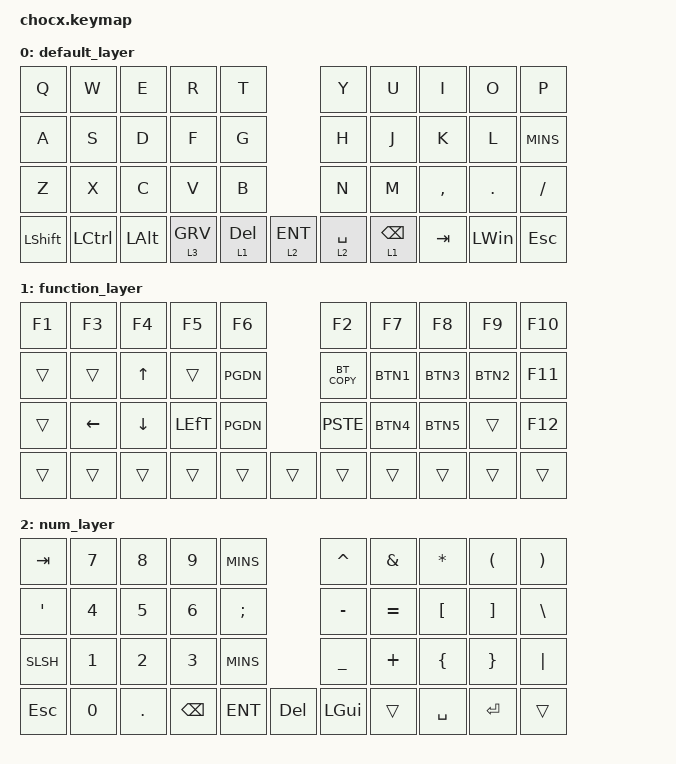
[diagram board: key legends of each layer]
#include <behaviors.dtsi>
#include <dt-bindings/zmk/bt.h>
#include <dt-bindings/zmk/keys.h>
#include <dt-bindings/zmk/mouse.h>
#include <behaviors/rgbled_widget.dtsi>  // led制御

#define ZMK_MOUSE_DEFAULT_SCRL_VAL 100   //スクロール量

#define MOUSE 6

&mt {
    flavor = "balanced";
    quick-tap-ms = <0>;
};

/ {
    //コンボ設定
    combos {    
        compatible = "zmk,combos";

        tab {
            bindings = <&kp TAB>;   //押したとき実行されるコマンド
            key-positions = <11 12>;    //押すキーの位置
        };

        shift_tab {
            bindings = <&kp LS(TAB)>;
            key-positions = <12 13>;
        };

        muhennkann {
            bindings = <&to_layer_0 INT_MUHENKAN>;
            key-positions = <11 10>;
        };

        double_quotation {
            bindings = <&kp DOUBLE_QUOTES>;
            key-positions = <20 21>;
        };

        eq {
            bindings = <&kp EQUAL>;
            key-positions = <24 25>;
        };
    };

    //マクロ(既存のキーの組み合わせ)
    macros {
        to_layer_0: to_layer_0 {
            compatible = "zmk,behavior-macro-one-param";
            #binding-cells = <1>;
            bindings = <&to 0 &macro_param_1to1 &kp MACRO_PLACEHOLDER>;
            label = "TO_LAYER_0";
        };
    };

    //新たな動作を定義する
    behaviors {
        lt_to_layer_0: lt_to_layer_0 {
            compatible = "zmk,behavior-hold-tap";
            label = "LAYER_TAP_TO_0";
            bindings = <&mo>, <&to_layer_0>;

            #binding-cells = <2>;
            tapping-term-ms = <200>;
        };

        scroll_up_down: behavior_sensor_rotate_mouse_wheel_up_down {
            compatible = "zmk,behavior-sensor-rotate";
            #sensor-binding-cells = <0>;
            bindings = <&msc SCRL_UP>, <&msc SCRL_DOWN>;
            // 追加: スクロールのタップ時間を設定 (20ms)
            tap-ms = <20>;
        };


    };

    keymap {
        compatible = "zmk,keymap";
                default_layer {
// -----------------------------------------------------------------------------------------
// |  Q  |  W  |  E  |  R  |  T  |   		|  Y  |  U   |  I  |  O  |  P  |
// |  A  |  S  |  D  |  F  |  G  |  	 	|  H  |  J   |  K  |  L  |  -  |
// |  Z  |  X  |  C  |  V  |  B  |   		|  N  |  M   |  ,  |  .  |  /  | 
// | SHFT| CTRL| ALT | LNG | DEL | ENT |    | SPC | BSPC | WIN | TAB | ESC |
                        bindings = <
   &kp Q 	 &kp W 	   &kp E 	&kp R 	   &kp T   						&kp Y 	    &kp U      &kp I     &kp O   	  &kp P
   &kp A 	 &kp S 	   &kp D 	&kp F 	   &kp G   						&kp H 	    &kp J      &kp K     &kp L   	  &kp MINS
   &kp Z 	 &kp X 	   &kp C 	&kp V 	   &kp B   						&kp N 	    &kp M      &kp COMMA &kp DOT 	  &kp FSLH
   &kp LSHFT &kp LCTRL &kp LALT &lt 3 GRV  &lt 1 DEL &lt 2 ENT      	&lt 2 SPACE &lt 1 BSPC &kp TAB   &kp LEFT_WIN &kp ESC

                        >;
                };
                function_layer {
 // -----------------------------------------------------------------------------------------
// |  F1  |  F3  |  F4  |  F5  |  F6  |   			|  F2  |  F7  |  F8  |  F9  |  F10  | 
// |      |      |  UP  |      | PG_UP|   			| COPY | BTN1 | BTN3 | BTN2 |  F11  |
// |      | LEFT | DOWN | RGHT | PG_DN|   			| PSTE | BTN4 | BTN5 |      |  F12  |
// |      |      |      |      |      |      |   	|      |      |      |      |       |
                        bindings = <
   &kp F1 &kp F3   &kp F4   &kp F5   &kp F6         		&kp F2   &kp F7   &kp F8   &kp F9   &kp F10
   &trans &trans   &kp UP   &trans   &kp PGDN 				&bt COPY &kp BTN1 &kp BTN3 &kp BTN2 &kp F11
   &trans &kp LEFT &kp DOWN &kp LEfT &kp PGDN 				&kp PSTE &kp BTN4 &kp BTN5 &trans   &kp F12
   &trans &trans   &trans   &trans   &trans   &trans     	&trans   &trans   &trans   &trans   &trans
                        >;
                };

                num_layer {
// -----------------------------------------------------------------------------------------
// | TSB |  7  |  8  |  9  |  =  |   			|  (  |  )  |  &  |  ^  |  \  |
// |  *  |  4  |  5  |  6  |  +  |   			|  [  |  _  |  @  |  :  |  ;  |
// |  /  |  1  |  2  |  3  |  -  |   			|  ]  |  !  |  ?  |  `  |  "  |
// | ESC |  0  |  .  | BS  | DEL | ENT |   		|  _  |  +  |  {  |  }  |     |
                        bindings = <
   &kp TAB  &kp 7 &kp 8   &kp 9    &kp MINS   			&kp CARET &kp AMPS  &kp ASTRK &kp LPAR &kp RPAR
   &kp QUOT &kp 4 &kp 5   &kp 6    &kp SCLN         	&kp MINUS &kp EQUAL &kp LBKT  &kp RBKT &kp BSLH 
   &kp SLSH &kp 1 &kp 2   &kp 3    &kp MINS      		&kp UNDER &kp PLUS  &kp LBRC  &kp RBRC &kp PIPE
   &kp ESC  &kp 0 &kp DOT &kp BSPC &kp ENT  &kp DEL     &kp LGUI  &trans    &kp SPACE &kp RET  &trans
                        >;
                };
        };
};
